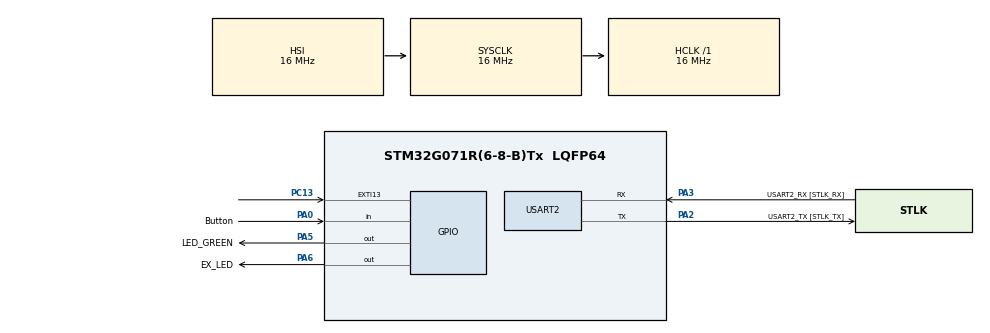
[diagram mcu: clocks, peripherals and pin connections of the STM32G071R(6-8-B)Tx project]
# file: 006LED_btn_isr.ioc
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Mcu.Family=STM32G0
Mcu.Name=STM32G071R(6-8-B)Tx
Mcu.Package=LQFP64
NVIC.EXTI4_15_IRQn=true\:2\:0\:true\:false\:true\:true\:true
NVIC.TIM6_DAC_LPTIM1_IRQn=true\:3\:0\:false\:false\:true\:false\:true
NVIC.TimeBase=TIM6_DAC_LPTIM1_IRQn
NVIC.TimeBaseIP=TIM6
PA0.GPIO_Label=Button
PA0.Signal=GPIO_Input
PA13.GPIO_Label=TMS
PA13.Signal=SYS_SWDIO
PA14-BOOT0.GPIO_Label=TCK
PA14-BOOT0.Signal=SYS_SWCLK
PA2.GPIO_Label=USART2_TX [STLK_TX]
PA2.Mode=Asynchronous
PA2.Signal=USART2_TX
PA3.GPIO_Label=USART2_RX [STLK_RX]
PA3.Mode=Asynchronous
PA3.Signal=USART2_RX
PA5.GPIO_Label=LED_GREEN
PA5.GPIO_Speed=GPIO_SPEED_FREQ_HIGH
PA5.Signal=GPIO_Output
PA6.GPIO_Label=EX_LED
PA6.Signal=GPIO_Output
PC13.Signal=GPXTI13
PC14-OSC32_IN\ (PC14).Signal=RCC_OSC32_IN
PC15-OSC32_OUT\ (PC15).Signal=RCC_OSC32_OUT
PF0-OSC_IN\ (PF0).GPIO_Label=MCO
PF0-OSC_IN\ (PF0).Signal=RCC_OSC_IN
ProjectManager.HeapSize=0x200
ProjectManager.StackSize=0x400
ProjectManager.TargetToolchain=STM32CubeIDE
RCC.AHBFreq_Value=16000000
RCC.CortexFreq_Value=16000000
RCC.EXTERNAL_CLOCK_VALUE=12288000
RCC.HCLKFreq_Value=16000000
RCC.HSE_VALUE=8000000
RCC.HSI_VALUE=16000000
RCC.LSE_VALUE=32768
RCC.SYSCLKFreq_VALUE=16000000
RCC.VCOOutputFreq_Value=128000000
USART2.VirtualMode-Asynchronous=VM_ASYNC
VP_SYS_VS_DBSignals.Mode=DisableDeadBatterySignals
VP_SYS_VS_tim6.Mode=TIM6
board=NUCLEO-G071RB

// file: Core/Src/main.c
/* USER CODE BEGIN Header */
/**
  ******************************************************************************
  * @file           : main.c
  * @brief          : Main program body
  ******************************************************************************
  * @attention
  *
  * <h2><center>&copy; Copyright (c) 2023 STMicroelectronics.
  * All rights reserved.</center></h2>
  *
  * This software component is licensed by ST under BSD 3-Clause license,
  * the "License"; You may not use this file except in compliance with the
  * License. You may obtain a copy of the License at:
  *                        opensource.org/licenses/BSD-3-Clause
  *
  ******************************************************************************
  */
/* USER CODE END Header */
#include "main.h"

/* USER CODE BEGIN Includes */
#include "FreeRTOS.h"
#include "task.h"
/* USER CODE END Includes */

UART_HandleTypeDef huart2;

/* USER CODE BEGIN PV */
	TaskHandle_t task1_handle;
	TaskHandle_t task2_handle;
	TaskHandle_t button_task_handle;

	TaskHandle_t volatile next_task_handle = NULL;

/* USER CODE END PV */

void SystemClock_Config(void);
static void MX_GPIO_Init(void);
static void MX_USART2_UART_Init(void);
/* USER CODE BEGIN PFP */

static void Taskfunc1(void *parameters);
static void Taskfunc2(void *parameters);
//static void button_func(void *parameters);
/* USER CODE END PFP */

int main(void)
{
  /* USER CODE BEGIN 1 */

	BaseType_t status;

  /* USER CODE END 1 */

  /* MCU Configuration--------------------------------------------------------*/

  /* Reset of all peripherals, Initializes the Flash interface and the Systick. */
  HAL_Init();

  /* Configure the system clock */
  SystemClock_Config();

  /* Initialize all configured peripherals */
  MX_GPIO_Init();
  MX_USART2_UART_Init();
  /* USER CODE BEGIN 2 */

  status = xTaskCreate(Taskfunc1,"Task-1",200,NULL,2,&task1_handle);
  configASSERT(status = pdPASS);

  next_task_handle = task1_handle;

  status = xTaskCreate(Taskfunc2,"Task-2",200,NULL,1,&task2_handle);
  configASSERT(status = pdPASS);

  /*status = xTaskCreate(button_func,"Button Task",200,NULL,3,&button_task_handle);
  configASSERT(status = pdPASS);
*/

  vTaskStartScheduler();

  /* USER CODE END 2 */

  /* Infinite loop */
  while (1)
  {

  }
}

void SystemClock_Config(void)
{
  RCC_OscInitTypeDef RCC_OscInitStruct = {0};
  RCC_ClkInitTypeDef RCC_ClkInitStruct = {0};
  RCC_PeriphCLKInitTypeDef PeriphClkInit = {0};

  /** Configure the main internal regulator output voltage
  */
  HAL_PWREx_ControlVoltageScaling(PWR_REGULATOR_VOLTAGE_SCALE1);
  /** Initializes the RCC Oscillators according to the specified parameters
  * in the RCC_OscInitTypeDef structure.
  */
  RCC_OscInitStruct.OscillatorType = RCC_OSCILLATORTYPE_HSI;
  RCC_OscInitStruct.HSIState = RCC_HSI_ON;
  RCC_OscInitStruct.HSIDiv = RCC_HSI_DIV1;
  RCC_OscInitStruct.HSICalibrationValue = RCC_HSICALIBRATION_DEFAULT;
  RCC_OscInitStruct.PLL.PLLState = RCC_PLL_NONE;
  if (HAL_RCC_OscConfig(&RCC_OscInitStruct) != HAL_OK)
  {
    Error_Handler();
  }
  /** Initializes the CPU, AHB and APB buses clocks
  */
  RCC_ClkInitStruct.ClockType = RCC_CLOCKTYPE_HCLK|RCC_CLOCKTYPE_SYSCLK
                              |RCC_CLOCKTYPE_PCLK1;
  RCC_ClkInitStruct.SYSCLKSource = RCC_SYSCLKSOURCE_HSI;
  RCC_ClkInitStruct.AHBCLKDivider = RCC_SYSCLK_DIV1;
  RCC_ClkInitStruct.APB1CLKDivider = RCC_HCLK_DIV1;

  if (HAL_RCC_ClockConfig(&RCC_ClkInitStruct, FLASH_LATENCY_0) != HAL_OK)
  {
    Error_Handler();
  }
  /** Initializes the peripherals clocks
  */
  PeriphClkInit.PeriphClockSelection = RCC_PERIPHCLK_USART2;
  PeriphClkInit.Usart2ClockSelection = RCC_USART2CLKSOURCE_PCLK1;
  if (HAL_RCCEx_PeriphCLKConfig(&PeriphClkInit) != HAL_OK)
  {
    Error_Handler();
  }
}

static void MX_USART2_UART_Init(void)
{

  huart2.Instance = USART2;
  huart2.Init.BaudRate = 115200;
  huart2.Init.WordLength = UART_WORDLENGTH_8B;
  huart2.Init.StopBits = UART_STOPBITS_1;
  huart2.Init.Parity = UART_PARITY_NONE;
  huart2.Init.Mode = UART_MODE_TX_RX;
  huart2.Init.HwFlowCtl = UART_HWCONTROL_NONE;
  huart2.Init.OverSampling = UART_OVERSAMPLING_16;
  huart2.Init.OneBitSampling = UART_ONE_BIT_SAMPLE_DISABLE;
  huart2.Init.ClockPrescaler = UART_PRESCALER_DIV1;
  huart2.AdvancedInit.AdvFeatureInit = UART_ADVFEATURE_NO_INIT;
  if (HAL_UART_Init(&huart2) != HAL_OK)
  {
    Error_Handler();
  }
  if (HAL_UARTEx_SetTxFifoThreshold(&huart2, UART_TXFIFO_THRESHOLD_1_8) != HAL_OK)
  {
    Error_Handler();
  }
  if (HAL_UARTEx_SetRxFifoThreshold(&huart2, UART_RXFIFO_THRESHOLD_1_8) != HAL_OK)
  {
    Error_Handler();
  }
  if (HAL_UARTEx_DisableFifoMode(&huart2) != HAL_OK)
  {
    Error_Handler();
  }

}

static void MX_GPIO_Init(void)
{
  GPIO_InitTypeDef GPIO_InitStruct = {0};

  /* GPIO Ports Clock Enable */
  __HAL_RCC_GPIOC_CLK_ENABLE();
  __HAL_RCC_GPIOF_CLK_ENABLE();
  __HAL_RCC_GPIOA_CLK_ENABLE();

  /*Configure GPIO pin Output Level */
  HAL_GPIO_WritePin(GPIOA, LED_GREEN_Pin|EX_LED_Pin, GPIO_PIN_RESET);

  /*Configure GPIO pin : PC13 */
  GPIO_InitStruct.Pin = GPIO_PIN_13;
  GPIO_InitStruct.Mode = GPIO_MODE_IT_RISING;
  GPIO_InitStruct.Pull = GPIO_NOPULL;
  HAL_GPIO_Init(GPIOC, &GPIO_InitStruct);

  /*Configure GPIO pin : Button_Pin */
  GPIO_InitStruct.Pin = Button_Pin;
  GPIO_InitStruct.Mode = GPIO_MODE_INPUT;
  GPIO_InitStruct.Pull = GPIO_NOPULL;
  HAL_GPIO_Init(Button_GPIO_Port, &GPIO_InitStruct);

  /*Configure GPIO pin : LED_GREEN_Pin */
  GPIO_InitStruct.Pin = LED_GREEN_Pin;
  GPIO_InitStruct.Mode = GPIO_MODE_OUTPUT_PP;
  GPIO_InitStruct.Pull = GPIO_NOPULL;
  GPIO_InitStruct.Speed = GPIO_SPEED_FREQ_HIGH;
  HAL_GPIO_Init(LED_GREEN_GPIO_Port, &GPIO_InitStruct);

  /*Configure GPIO pin : EX_LED_Pin */
  GPIO_InitStruct.Pin = EX_LED_Pin;
  GPIO_InitStruct.Mode = GPIO_MODE_OUTPUT_PP;
  GPIO_InitStruct.Pull = GPIO_NOPULL;
  GPIO_InitStruct.Speed = GPIO_SPEED_FREQ_LOW;
  HAL_GPIO_Init(EX_LED_GPIO_Port, &GPIO_InitStruct);

  /* EXTI interrupt init*/
  HAL_NVIC_SetPriority(EXTI4_15_IRQn, 2, 0);
  HAL_NVIC_EnableIRQ(EXTI4_15_IRQn);

}

/* USER CODE BEGIN 4 */

static void Taskfunc1(void *parameters)
{
	BaseType_t status;
	while(1)
	{
		HAL_GPIO_TogglePin(EX_LED_GPIO_Port, EX_LED_Pin);
		HAL_UART_Transmit(&huart2, "Hello from Task-1\r\n", sizeof("Hello from Task-1\r\n"), 1000);
		status = xTaskNotifyWait(0,0,NULL,pdMS_TO_TICKS(1000));

		if(status == pdTRUE)
		{
			next_task_handle = task2_handle;
			HAL_GPIO_WritePin(GPIOA,EX_LED_Pin,GPIO_PIN_SET);
			HAL_UART_Transmit(&huart2, "Task-1 Deleted\r\n", sizeof("Task-1 Deleted\r\n"), 1000);
			vTaskDelete(NULL);

		}
	}
}

static void Taskfunc2(void *parameters)
{
	BaseType_t status;
	while(1)
	{

		HAL_GPIO_TogglePin(LED_GREEN_GPIO_Port, LED_GREEN_Pin);
		HAL_UART_Transmit(&huart2, "Hello from Task-2\r\n", sizeof("Hello from Task-2\r\n"), 1000);
		status = xTaskNotifyWait(0,0,NULL,pdMS_TO_TICKS(1000));
		if(status == pdTRUE)
		{
			next_task_handle = NULL;
			HAL_GPIO_WritePin(GPIOA,LED_GREEN_Pin,GPIO_PIN_SET);
			HAL_UART_Transmit(&huart2, "Task-2 Deleted\r\n", sizeof("Task-2 Deleted\r\n"), 1000);
			vTaskDelete(NULL);

		}
	}
}

void button_func(void *parameters)
{
	//uint8_t btn_read = 1;
	//uint8_t prev_read = 1;

	/*while(1)
	{
		btn_read = HAL_GPIO_ReadPin(Button1_GPIO_Port, Button1_Pin);
		if(!btn_read)
		{
			if(prev_read)
				xTaskNotify(next_task_handle,0,eNoAction);
		}
		prev_read = btn_read;
		vTaskDelay(pdMS_TO_TICKS(10));
	}*/

	xTaskNotifyFromISR(next_task_handle,0,eNoAction,NULL);

}
/* USER CODE END 4 */

void HAL_TIM_PeriodElapsedCallback(TIM_HandleTypeDef *htim)
{
  if (htim->Instance == TIM6) {
    HAL_IncTick();
  }
}

void Error_Handler(void)
{
  __disable_irq();
  while (1)
  {
  }
}

/************************ (C) COPYRIGHT STMicroelectronics *****END OF FILE****/
